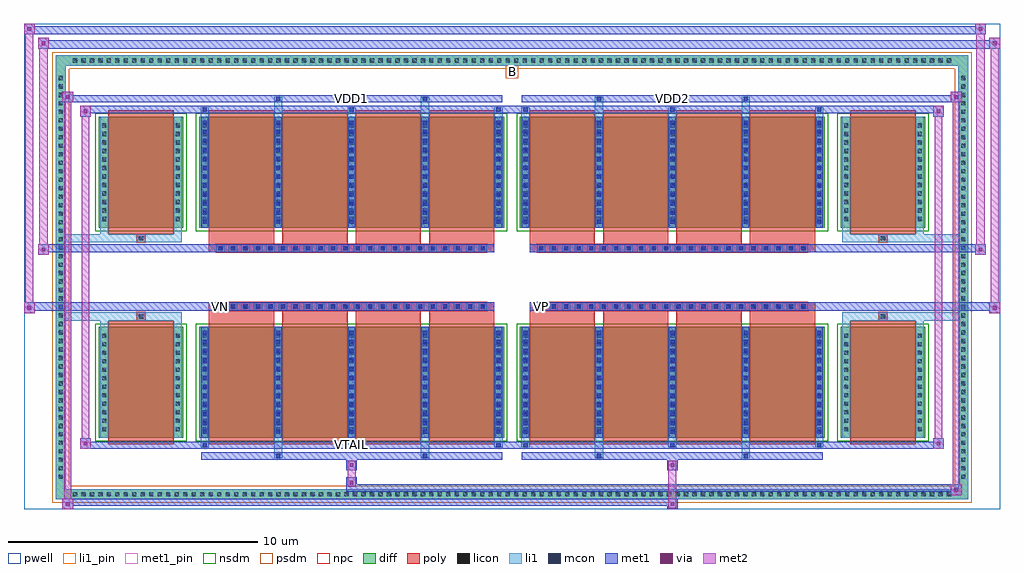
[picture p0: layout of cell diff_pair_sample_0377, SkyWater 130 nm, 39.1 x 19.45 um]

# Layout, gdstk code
import gdstk
lib = gdstk.Library(unit=1e-6, precision=5e-09)
def R(c, l, rs):  # rectangles x0, y0, x1, y1
    for r in rs: c.add(gdstk.rectangle(r[:2], r[2:], *l))
def A(c, l, x, y, w, h, nx, ny, dx, dy):  # array of equal rectangles
    R(c, l, [(x+i*dx, y+j*dy, x+i*dx+w, y+j*dy+h) for i in range(nx) for j in range(ny)])
def P(c, l, *ps):  # polygons
    for p in ps: c.add(gdstk.Polygon(p, *l))
pwell = (64, 44)
diff = (65, 20)
poly = (66, 20)
licon = (66, 44)
li1_pin = (67, 16)
li1 = (67, 20)
mcon = (67, 44)
met1_pin = (68, 16)
met1 = (68, 20)
via = (68, 44)
met2 = (69, 20)
nsdm = (93, 44)
psdm = (94, 20)
npc = (95, 20)

diff_pair_sample_0377 = lib.new_cell('diff_pair_sample_0377')
R(diff_pair_sample_0377, pwell, [(-19.55,-9.29,19.55,10.16), (-16.87,-7.48,-0.01,-0.8), (0.01,-7.48,16.87,-0.8), (-16.87,0.8,-0.01,7.48), (0.01,0.8,16.87,7.48)])
A(diff_pair_sample_0377, diff, -17.715, -8.89, 0.41, 0.41, 104, 2, 0.34, 17.37)
A(diff_pair_sample_0377, diff, -18.28, -8.195, 0.41, 0.41, 1, 48, 0, 0.34)
A(diff_pair_sample_0377, diff, 17.87, -8.195, 0.41, 0.41, 1, 48, 0, 0.34)
R(diff_pair_sample_0377, diff, [(-17.715,-8.89,17.715,-8.48), (-18.28,-8.195,-17.87,8.195), (17.87,-8.195,18.28,8.195), (-16.56,-6.435,-13.17,-1.985), (-12.53,-6.435,-0.32,-1.985), (0.32,-6.435,12.53,-1.985), (13.17,-6.435,16.56,-1.985), (-16.56,1.985,-13.17,6.435), (-12.53,1.985,-0.32,6.435), (0.32,1.985,12.53,6.435), (13.17,1.985,16.56,6.435), (-17.715,8.48,17.715,8.89)])
P(diff_pair_sample_0377, diff, [(18.28,8.89),(-18.28,8.89),(-18.28,-8.48),(-17.87,-8.48),(-17.87,8.48),(17.87,8.48),(17.87,-8.48),(-17.87,-8.48),(-18.28,-8.48),(-18.28,-8.89),(18.28,-8.89)])
A(diff_pair_sample_0377, poly, -12.14, -6.685, 2.61, 4.95, 4, 2, 2.94, 8.42)
A(diff_pair_sample_0377, poly, 0.71, -6.685, 2.61, 4.95, 4, 2, 2.94, 8.42)
A(diff_pair_sample_0377, poly, -12.14, -1.735, 2.61, 0.405, 4, 2, 2.94, 3.065)
A(diff_pair_sample_0377, poly, 0.71, -1.735, 2.61, 0.405, 4, 2, 2.94, 3.065)
A(diff_pair_sample_0377, poly, -11.84, -1.33, 0.33, 0.33, 22, 2, 0.5, 2.33)
A(diff_pair_sample_0377, poly, 1.01, -1.33, 0.33, 0.33, 22, 2, 0.5, 2.33)
R(diff_pair_sample_0377, poly, [(-16.17,-6.685,-13.56,-1.735), (13.56,-6.685,16.17,-1.735), (-15.03,-1.735,-14.7,-1.405), (-15.03,-1.735,-14.7,-1.405), (14.7,-1.735,15.03,-1.405), (14.7,-1.735,15.03,-1.405), (-12.14,-1.33,-0.71,-1), (0.71,-1.33,12.14,-1), (-12.14,1,-0.71,1.33), (0.71,1,12.14,1.33), (-15.03,1.405,-14.7,1.735), (-15.03,1.405,-14.7,1.735), (14.7,1.405,15.03,1.735), (14.7,1.405,15.03,1.735), (-16.17,1.735,-13.56,6.685), (13.56,1.735,16.17,6.685)])
A(diff_pair_sample_0377, licon, -17.595, -8.77, 0.17, 0.17, 104, 2, 0.34, 17.37)
A(diff_pair_sample_0377, licon, -18.16, -8.075, 0.17, 0.17, 1, 48, 0, 0.34)
A(diff_pair_sample_0377, licon, 17.99, -8.075, 0.17, 0.17, 1, 48, 0, 0.34)
A(diff_pair_sample_0377, licon, -16.42, -6.165, 0.17, 0.17, 1, 12, 0, 0.34)
A(diff_pair_sample_0377, licon, -13.48, -6.165, 0.17, 0.17, 1, 12, 0, 0.34)
A(diff_pair_sample_0377, licon, -12.39, -6.165, 0.17, 0.17, 5, 12, 2.94, 0.34)
A(diff_pair_sample_0377, licon, 0.46, -6.165, 0.17, 0.17, 5, 12, 2.94, 0.34)
A(diff_pair_sample_0377, licon, 13.31, -6.165, 0.17, 0.17, 1, 12, 0, 0.34)
A(diff_pair_sample_0377, licon, 16.25, -6.165, 0.17, 0.17, 1, 12, 0, 0.34)
A(diff_pair_sample_0377, licon, -11.76, -1.25, 0.17, 0.17, 22, 2, 0.5, 2.33)
A(diff_pair_sample_0377, licon, 1.09, -1.25, 0.17, 0.17, 22, 2, 0.5, 2.33)
A(diff_pair_sample_0377, licon, -16.42, 2.255, 0.17, 0.17, 1, 12, 0, 0.34)
A(diff_pair_sample_0377, licon, -13.48, 2.255, 0.17, 0.17, 1, 12, 0, 0.34)
A(diff_pair_sample_0377, licon, -12.39, 2.255, 0.17, 0.17, 5, 12, 2.94, 0.34)
A(diff_pair_sample_0377, licon, 0.46, 2.255, 0.17, 0.17, 5, 12, 2.94, 0.34)
A(diff_pair_sample_0377, licon, 13.31, 2.255, 0.17, 0.17, 1, 12, 0, 0.34)
A(diff_pair_sample_0377, licon, 16.25, 2.255, 0.17, 0.17, 1, 12, 0, 0.34)
R(diff_pair_sample_0377, licon, [(-14.95,-1.655,-14.78,-1.485), (14.78,-1.655,14.95,-1.485), (-14.95,1.485,-14.78,1.655), (14.78,1.485,14.95,1.655)])
R(diff_pair_sample_0377, li1_pin, [(-0.25,7.98,0.25,8.48)])
A(diff_pair_sample_0377, li1, -17.675, -8.85, 0.33, 0.33, 104, 2, 0.34, 17.37)
A(diff_pair_sample_0377, li1, -18.24, -8.155, 0.33, 0.33, 1, 48, 0, 0.34)
A(diff_pair_sample_0377, li1, 17.91, -8.155, 0.33, 0.33, 1, 48, 0, 0.34)
A(diff_pair_sample_0377, li1, -12.47, -6.81, 0.33, 0.375, 3, 2, 5.88, 13.245)
A(diff_pair_sample_0377, li1, -12.39, -6.81, 0.17, 0.17, 3, 2, 5.88, 13.45)
A(diff_pair_sample_0377, li1, 0.38, -6.81, 0.33, 0.375, 3, 2, 5.88, 13.245)
A(diff_pair_sample_0377, li1, 0.46, -6.81, 0.17, 0.17, 3, 2, 5.88, 13.45)
A(diff_pair_sample_0377, li1, -12.47, -6.435, 0.33, 4.45, 5, 2, 2.94, 8.42)
A(diff_pair_sample_0377, li1, 0.38, -6.435, 0.33, 4.45, 5, 2, 2.94, 8.42)
A(diff_pair_sample_0377, li1, -12.39, -6.275, 0.17, 0.17, 5, 12, 2.94, 0.36)
A(diff_pair_sample_0377, li1, -12.39, -6.275, 0.17, 4.13, 5, 2, 2.94, 8.42)
A(diff_pair_sample_0377, li1, 0.46, -6.275, 0.17, 0.17, 5, 12, 2.94, 0.36)
A(diff_pair_sample_0377, li1, 0.46, -6.275, 0.17, 4.13, 5, 2, 2.94, 8.42)
A(diff_pair_sample_0377, li1, -16.5, -6.245, 0.33, 0.33, 1, 12, 0, 0.34)
A(diff_pair_sample_0377, li1, -13.56, -6.245, 0.33, 0.33, 1, 12, 0, 0.34)
A(diff_pair_sample_0377, li1, -12.47, -6.245, 0.33, 0.33, 5, 12, 2.94, 0.34)
A(diff_pair_sample_0377, li1, 0.38, -6.245, 0.33, 0.33, 5, 12, 2.94, 0.34)
A(diff_pair_sample_0377, li1, 13.23, -6.245, 0.33, 0.33, 1, 12, 0, 0.34)
A(diff_pair_sample_0377, li1, 16.17, -6.245, 0.33, 0.33, 1, 12, 0, 0.34)
A(diff_pair_sample_0377, li1, -11.84, -1.33, 0.33, 0.33, 22, 2, 0.5, 2.33)
A(diff_pair_sample_0377, li1, 1.01, -1.33, 0.33, 0.33, 22, 2, 0.5, 2.33)
A(diff_pair_sample_0377, li1, -12.39, 2.145, 0.17, 0.17, 5, 12, 2.94, 0.36)
A(diff_pair_sample_0377, li1, 0.46, 2.145, 0.17, 0.17, 5, 12, 2.94, 0.36)
A(diff_pair_sample_0377, li1, -16.5, 2.175, 0.33, 0.33, 1, 12, 0, 0.34)
A(diff_pair_sample_0377, li1, -13.56, 2.175, 0.33, 0.33, 1, 12, 0, 0.34)
A(diff_pair_sample_0377, li1, -12.47, 2.175, 0.33, 0.33, 5, 12, 2.94, 0.34)
A(diff_pair_sample_0377, li1, 0.38, 2.175, 0.33, 0.33, 5, 12, 2.94, 0.34)
A(diff_pair_sample_0377, li1, 13.23, 2.175, 0.33, 0.33, 1, 12, 0, 0.34)
A(diff_pair_sample_0377, li1, 16.17, 2.175, 0.33, 0.33, 1, 12, 0, 0.34)
R(diff_pair_sample_0377, li1, [(-18.28,-8.89,-17.87,-8.48), (-18.28,-8.89,-17.87,-8.48), (-17.87,-8.89,17.87,-8.48), (17.87,-8.89,18.28,-8.48), (17.87,-8.89,18.28,-8.48), (-18.28,-8.48,-17.87,8.48), (17.87,-8.48,18.28,8.48), (-9.53,-7.24,-9.2,-6.435), (-9.45,-7.24,-9.28,-7.07), (-3.65,-7.24,-3.32,-6.435), (-3.57,-7.24,-3.4,-7.07), (3.32,-7.24,3.65,-6.435), (3.4,-7.24,3.57,-7.07), (9.2,-7.24,9.53,-6.435), (9.28,-7.24,9.45,-7.07), (-16.5,-6.435,-16.17,-1.985), (-13.56,-6.435,-13.23,-1.985), (13.23,-6.435,13.56,-1.985), (16.17,-6.435,16.5,-1.985), (-16.5,-1.985,-16.17,-1.405), (-13.56,-1.985,-13.23,-1.405), (13.23,-1.985,13.56,-1.405), (16.17,-1.985,16.5,-1.405), (-18.28,-1.735,-15.03,-1.405), (-16.5,-1.735,-15.03,-1.405), (-15.03,-1.735,-14.7,-1.405), (-14.7,-1.735,-13.23,-1.405), (13.23,-1.735,14.7,-1.405), (14.7,-1.735,15.03,-1.405), (14.7,-1.735,18.28,-1.405), (15.03,-1.735,16.5,-1.405), (-18.28,1.405,-15.03,1.735), (-16.5,1.405,-15.03,1.735), (-16.5,1.405,-16.17,1.985), (-15.03,1.405,-14.7,1.735), (-14.7,1.405,-13.23,1.735), (-13.56,1.405,-13.23,1.985), (13.23,1.405,14.7,1.735), (13.23,1.405,13.56,1.985), (14.7,1.405,15.03,1.735), (14.7,1.405,18.28,1.735), (15.03,1.405,16.5,1.735), (16.17,1.405,16.5,1.985), (-16.5,1.985,-16.17,6.435), (-13.56,1.985,-13.23,6.435), (13.23,1.985,13.56,6.435), (16.17,1.985,16.5,6.435), (-9.53,6.435,-9.2,7.24), (-3.65,6.435,-3.32,7.24), (3.32,6.435,3.65,7.24), (9.2,6.435,9.53,7.24), (-9.45,7.07,-9.28,7.24), (-3.57,7.07,-3.4,7.24), (3.4,7.07,3.57,7.24), (9.28,7.07,9.45,7.24), (-18.28,8.48,-17.87,8.89), (-18.28,8.48,-17.87,8.89), (-17.87,8.48,17.87,8.89), (17.87,8.48,18.28,8.89), (17.87,8.48,18.28,8.89)])
A(diff_pair_sample_0377, mcon, -12.39, -6.81, 0.17, 0.17, 3, 2, 5.88, 13.45)
A(diff_pair_sample_0377, mcon, 0.46, -6.81, 0.17, 0.17, 3, 2, 5.88, 13.45)
A(diff_pair_sample_0377, mcon, -12.39, -6.275, 0.17, 0.17, 5, 12, 2.94, 0.36)
A(diff_pair_sample_0377, mcon, 0.46, -6.275, 0.17, 0.17, 5, 12, 2.94, 0.36)
A(diff_pair_sample_0377, mcon, -11.76, -1.25, 0.17, 0.17, 22, 2, 0.5, 2.33)
A(diff_pair_sample_0377, mcon, 1.09, -1.25, 0.17, 0.17, 22, 2, 0.5, 2.33)
A(diff_pair_sample_0377, mcon, -12.39, 2.145, 0.17, 0.17, 5, 12, 2.94, 0.36)
A(diff_pair_sample_0377, mcon, 0.46, 2.145, 0.17, 0.17, 5, 12, 2.94, 0.36)
R(diff_pair_sample_0377, mcon, [(-9.45,-7.24,-9.28,-7.07), (-3.57,-7.24,-3.4,-7.07), (3.4,-7.24,3.57,-7.07), (9.28,-7.24,9.45,-7.07), (-9.45,7.07,-9.28,7.24), (-3.57,7.07,-3.4,7.24), (3.4,7.07,3.57,7.24), (9.28,7.07,9.45,7.24)])
R(diff_pair_sample_0377, met1_pin, [(-6.56,-6.85,-6.29,-6.58), (-11.81,-1.29,-11.54,-1.02), (1.04,-1.29,1.31,-1.02), (-6.56,7.03,-6.29,7.3), (6.29,7.03,6.56,7.3)])
A(diff_pair_sample_0377, met1, -12.45, -6.87, 0.29, 0.29, 3, 2, 5.88, 13.45)
A(diff_pair_sample_0377, met1, 0.4, -6.87, 0.29, 0.29, 3, 2, 5.88, 13.45)
A(diff_pair_sample_0377, met1, -12.45, -6.435, 0.29, 4.45, 5, 2, 2.94, 8.42)
A(diff_pair_sample_0377, met1, 0.4, -6.435, 0.29, 4.45, 5, 2, 2.94, 8.42)
A(diff_pair_sample_0377, met1, -12.45, -6.335, 0.29, 0.29, 5, 12, 2.94, 0.36)
A(diff_pair_sample_0377, met1, 0.4, -6.335, 0.29, 0.29, 5, 12, 2.94, 0.36)
A(diff_pair_sample_0377, met1, -11.82, -1.31, 0.29, 0.29, 22, 2, 0.5, 2.33)
A(diff_pair_sample_0377, met1, 1.03, -1.31, 0.29, 0.29, 22, 2, 0.5, 2.33)
A(diff_pair_sample_0377, met1, -12.45, 2.085, 0.29, 0.29, 5, 12, 2.94, 0.36)
A(diff_pair_sample_0377, met1, 0.4, 2.085, 0.29, 0.29, 5, 12, 2.94, 0.36)
R(diff_pair_sample_0377, met1, [(-18.01,-9.29,-17.58,-8.86), (6.21,-9.29,6.64,-8.86), (-18.01,-9.15,6.64,-8.86), (17.58,-8.72,18.01,-8.29), (-6.64,-8.58,18.01,-8.29), (-6.64,-8.44,-6.21,-8.01), (-6.64,-7.73,-6.21,-7.3), (6.21,-7.73,6.64,-7.3), (-12.45,-7.3,-0.4,-7.01), (-9.51,-7.3,-9.22,-7.01), (-3.63,-7.3,-3.34,-7.01), (0.4,-7.3,12.45,-7.01), (3.34,-7.3,3.63,-7.01), (9.22,-7.3,9.51,-7.01), (-17.3,-6.87,-16.87,-6.44), (-17.3,-6.87,-12.45,-6.58), (-12.45,-6.87,-0.4,-6.58), (-0.4,-6.87,0.4,-6.58), (0.4,-6.87,12.45,-6.58), (12.45,-6.87,17.3,-6.58), (16.87,-6.87,17.3,-6.44), (-19.55,-1.43,-19.12,-1), (19.12,-1.43,19.55,-1), (-19.55,-1.33,-0.71,-1), (-12.14,-1.33,-0.71,-1), (0.71,-1.33,12.14,-1), (0.71,-1.33,19.55,-1), (-18.98,0.9,-18.55,1.33), (18.55,0.9,18.98,1.33), (-18.98,1,-12.14,1.33), (-12.14,1,-0.71,1.33), (0.71,1,12.14,1.33), (12.14,1,18.98,1.33), (-17.3,6.44,-16.87,6.87), (16.87,6.44,17.3,6.87), (-17.3,6.58,-12.45,6.87), (-12.45,6.58,-0.4,6.87), (-0.4,6.58,0.4,6.87), (0.4,6.58,12.45,6.87), (12.45,6.58,17.3,6.87), (-18.01,7.01,-17.58,7.44), (-18.01,7.01,-12.45,7.3), (-12.45,7.01,-0.4,7.3), (-9.51,7.01,-9.22,7.3), (-3.63,7.01,-3.34,7.3), (0.4,7.01,12.45,7.3), (3.34,7.01,3.63,7.3), (9.22,7.01,9.51,7.3), (12.45,7.01,18.01,7.3), (17.58,7.01,18.01,7.44), (-18.98,9.16,-18.55,9.59), (-18.98,9.16,-16.87,9.49), (-16.87,9.16,16.87,9.49), (16.87,9.16,19.55,9.49), (19.12,9.16,19.55,9.59), (-19.55,9.73,-19.12,10.16), (-19.55,9.73,-16.87,10.06), (-16.87,9.73,16.87,10.06), (16.87,9.73,18.98,10.06), (18.55,9.73,18.98,10.16)])
R(diff_pair_sample_0377, via, [(-17.87,-9.15,-17.72,-9), (6.35,-9.15,6.5,-9), (17.72,-8.58,17.87,-8.43), (-6.5,-8.3,-6.35,-8.15), (-6.5,-7.59,-6.35,-7.44), (6.35,-7.59,6.5,-7.44), (-17.16,-6.73,-17.01,-6.58), (17.01,-6.73,17.16,-6.58), (-19.41,-1.29,-19.26,-1.14), (19.26,-1.29,19.41,-1.14), (-18.84,1.04,-18.69,1.19), (18.69,1.04,18.84,1.19), (-17.16,6.58,-17.01,6.73), (17.01,6.58,17.16,6.73), (-17.87,7.15,-17.72,7.3), (17.72,7.15,17.87,7.3), (-18.84,9.3,-18.69,9.45), (19.26,9.3,19.41,9.45), (-19.41,9.87,-19.26,10.02), (18.69,9.87,18.84,10.02)])
R(diff_pair_sample_0377, met2, [(-18.01,-9.29,-17.58,-8.86), (-17.94,-9.29,-17.65,7.44), (-17.65,-9.29,-17.58,-8.86), (-17.96,-9.24,-17.63,-8.91), (6.26,-9.24,6.59,-8.91), (6.26,-8.91,6.59,-7.68), (17.58,-8.72,18.01,-8.29), (17.65,-8.72,17.94,7.44), (17.94,-8.72,18.01,-8.29), (17.63,-8.67,17.96,-8.34), (-6.59,-8.39,-6.26,-8.06), (-6.59,-8.06,-6.26,-7.68), (-6.59,-7.68,-6.26,-7.35), (6.26,-7.68,6.59,-7.35), (-17.3,-6.87,-16.87,-6.44), (-17.23,-6.87,-16.94,6.87), (-16.94,-6.87,-16.87,-6.44), (16.87,-6.87,17.3,-6.44), (16.94,-6.87,17.23,6.87), (17.23,-6.87,17.3,-6.44), (-17.25,-6.82,-16.92,-6.49), (16.92,-6.82,17.25,-6.49), (-19.55,-1.43,-19.12,-1), (-19.5,-1.43,-19.17,10.16), (-19.17,-1.43,-19.12,-1), (19.12,-1.43,19.55,-1), (19.17,-1.43,19.5,9.59), (19.5,-1.43,19.55,-1), (-19.5,-1.38,-19.17,-1.05), (19.17,-1.38,19.5,-1.05), (-18.98,0.9,-18.55,1.33), (-18.93,0.9,-18.6,9.59), (-18.6,0.9,-18.55,1.33), (18.55,0.9,18.98,1.33), (18.6,0.9,18.93,10.16), (18.93,0.9,18.98,1.33), (-18.93,0.95,-18.6,1.28), (18.6,0.95,18.93,1.28), (-17.3,6.44,-16.87,6.87), (-16.94,6.44,-16.87,6.87), (16.87,6.44,17.3,6.87), (17.23,6.44,17.3,6.87), (-17.25,6.49,-16.92,6.82), (16.92,6.49,17.25,6.82), (-18.01,7.01,-17.58,7.44), (-17.65,7.01,-17.58,7.44), (17.58,7.01,18.01,7.44), (17.94,7.01,18.01,7.44), (-17.96,7.06,-17.63,7.39), (17.63,7.06,17.96,7.39), (-18.98,9.16,-18.55,9.59), (-18.6,9.16,-18.55,9.59), (19.12,9.16,19.55,9.59), (19.5,9.16,19.55,9.59), (-18.93,9.21,-18.6,9.54), (19.17,9.21,19.5,9.54), (-19.55,9.73,-19.12,10.16), (-19.17,9.73,-19.12,10.16), (18.55,9.73,18.98,10.16), (18.93,9.73,18.98,10.16), (-19.5,9.78,-19.17,10.11), (18.6,9.78,18.93,10.11)])
R(diff_pair_sample_0377, nsdm, [(-16.69,-6.565,-13.04,-1.855), (-12.66,-6.565,-0.19,-1.855), (0.19,-6.565,12.66,-1.855), (13.04,-6.565,16.69,-1.855), (-16.69,1.855,-13.04,6.565), (-12.66,1.855,-0.19,6.565), (0.19,1.855,12.66,6.565), (13.04,1.855,16.69,6.565)])
P(diff_pair_sample_0377, psdm, [(18.41,9.02),(-18.41,9.02),(-18.41,-8.35),(-17.74,-8.35),(-17.74,8.35),(17.74,8.35),(17.74,-8.35),(-17.74,-8.35),(-18.41,-8.35),(-18.41,-9.02),(18.41,-9.02)])
A(diff_pair_sample_0377, npc, -11.86, -1.35, 0.37, 0.37, 22, 2, 0.5, 2.33)
A(diff_pair_sample_0377, npc, 0.99, -1.35, 0.37, 0.37, 22, 2, 0.5, 2.33)
R(diff_pair_sample_0377, npc, [(-15.05,-1.755,-14.68,-1.385), (14.68,-1.755,15.05,-1.385), (-11.86,-1.35,-10.99,-0.98), (-11.86,-1.35,-10.99,-0.98), (-11.36,-1.35,-10.49,-0.98), (-11.36,-1.35,-10.49,-0.98), (-10.86,-1.35,-9.99,-0.98), (-10.86,-1.35,-9.99,-0.98), (-10.36,-1.35,-9.49,-0.98), (-10.36,-1.35,-9.49,-0.98), (-9.86,-1.35,-8.99,-0.98), (-9.86,-1.35,-8.99,-0.98), (-9.36,-1.35,-8.49,-0.98), (-9.36,-1.35,-8.49,-0.98), (-8.86,-1.35,-7.99,-0.98), (-8.86,-1.35,-7.99,-0.98), (-8.36,-1.35,-7.49,-0.98), (-8.36,-1.35,-7.49,-0.98), (-7.86,-1.35,-6.99,-0.98), (-7.86,-1.35,-6.99,-0.98), (-7.36,-1.35,-6.49,-0.98), (-7.36,-1.35,-6.49,-0.98), (-6.86,-1.35,-5.99,-0.98), (-6.86,-1.35,-5.99,-0.98), (-6.36,-1.35,-5.49,-0.98), (-6.36,-1.35,-5.49,-0.98), (-5.86,-1.35,-4.99,-0.98), (-5.86,-1.35,-4.99,-0.98), (-5.36,-1.35,-4.49,-0.98), (-5.36,-1.35,-4.49,-0.98), (-4.86,-1.35,-3.99,-0.98), (-4.86,-1.35,-3.99,-0.98), (-4.36,-1.35,-3.49,-0.98), (-4.36,-1.35,-3.49,-0.98), (-3.86,-1.35,-2.99,-0.98), (-3.86,-1.35,-2.99,-0.98), (-3.36,-1.35,-2.49,-0.98), (-3.36,-1.35,-2.49,-0.98), (-2.86,-1.35,-1.99,-0.98), (-2.86,-1.35,-1.99,-0.98), (-2.36,-1.35,-1.49,-0.98), (-2.36,-1.35,-1.49,-0.98), (-1.86,-1.35,-0.99,-0.98), (-1.86,-1.35,-0.99,-0.98), (0.99,-1.35,1.86,-0.98), (0.99,-1.35,1.86,-0.98), (1.49,-1.35,2.36,-0.98), (1.49,-1.35,2.36,-0.98), (1.99,-1.35,2.86,-0.98), (1.99,-1.35,2.86,-0.98), (2.49,-1.35,3.36,-0.98), (2.49,-1.35,3.36,-0.98), (2.99,-1.35,3.86,-0.98), (2.99,-1.35,3.86,-0.98), (3.49,-1.35,4.36,-0.98), (3.49,-1.35,4.36,-0.98), (3.99,-1.35,4.86,-0.98), (3.99,-1.35,4.86,-0.98), (4.49,-1.35,5.36,-0.98), (4.49,-1.35,5.36,-0.98), (4.99,-1.35,5.86,-0.98), (4.99,-1.35,5.86,-0.98), (5.49,-1.35,6.36,-0.98), (5.49,-1.35,6.36,-0.98), (5.99,-1.35,6.86,-0.98), (5.99,-1.35,6.86,-0.98), (6.49,-1.35,7.36,-0.98), (6.49,-1.35,7.36,-0.98), (6.99,-1.35,7.86,-0.98), (6.99,-1.35,7.86,-0.98), (7.49,-1.35,8.36,-0.98), (7.49,-1.35,8.36,-0.98), (7.99,-1.35,8.86,-0.98), (7.99,-1.35,8.86,-0.98), (8.49,-1.35,9.36,-0.98), (8.49,-1.35,9.36,-0.98), (8.99,-1.35,9.86,-0.98), (8.99,-1.35,9.86,-0.98), (9.49,-1.35,10.36,-0.98), (9.49,-1.35,10.36,-0.98), (9.99,-1.35,10.86,-0.98), (9.99,-1.35,10.86,-0.98), (10.49,-1.35,11.36,-0.98), (10.49,-1.35,11.36,-0.98), (10.99,-1.35,11.86,-0.98), (10.99,-1.35,11.86,-0.98), (-11.86,0.98,-10.99,1.35), (-11.86,0.98,-10.99,1.35), (-11.36,0.98,-10.49,1.35), (-11.36,0.98,-10.49,1.35), (-10.86,0.98,-9.99,1.35), (-10.86,0.98,-9.99,1.35), (-10.36,0.98,-9.49,1.35), (-10.36,0.98,-9.49,1.35), (-9.86,0.98,-8.99,1.35), (-9.86,0.98,-8.99,1.35), (-9.36,0.98,-8.49,1.35), (-9.36,0.98,-8.49,1.35), (-8.86,0.98,-7.99,1.35), (-8.86,0.98,-7.99,1.35), (-8.36,0.98,-7.49,1.35), (-8.36,0.98,-7.49,1.35), (-7.86,0.98,-6.99,1.35), (-7.86,0.98,-6.99,1.35), (-7.36,0.98,-6.49,1.35), (-7.36,0.98,-6.49,1.35), (-6.86,0.98,-5.99,1.35), (-6.86,0.98,-5.99,1.35), (-6.36,0.98,-5.49,1.35), (-6.36,0.98,-5.49,1.35), (-5.86,0.98,-4.99,1.35), (-5.86,0.98,-4.99,1.35), (-5.36,0.98,-4.49,1.35), (-5.36,0.98,-4.49,1.35), (-4.86,0.98,-3.99,1.35), (-4.86,0.98,-3.99,1.35), (-4.36,0.98,-3.49,1.35), (-4.36,0.98,-3.49,1.35), (-3.86,0.98,-2.99,1.35), (-3.86,0.98,-2.99,1.35), (-3.36,0.98,-2.49,1.35), (-3.36,0.98,-2.49,1.35), (-2.86,0.98,-1.99,1.35), (-2.86,0.98,-1.99,1.35), (-2.36,0.98,-1.49,1.35), (-2.36,0.98,-1.49,1.35), (-1.86,0.98,-0.99,1.35), (-1.86,0.98,-0.99,1.35), (0.99,0.98,1.86,1.35), (0.99,0.98,1.86,1.35), (1.49,0.98,2.36,1.35), (1.49,0.98,2.36,1.35), (1.99,0.98,2.86,1.35), (1.99,0.98,2.86,1.35), (2.49,0.98,3.36,1.35), (2.49,0.98,3.36,1.35), (2.99,0.98,3.86,1.35), (2.99,0.98,3.86,1.35), (3.49,0.98,4.36,1.35), (3.49,0.98,4.36,1.35), (3.99,0.98,4.86,1.35), (3.99,0.98,4.86,1.35), (4.49,0.98,5.36,1.35), (4.49,0.98,5.36,1.35), (4.99,0.98,5.86,1.35), (4.99,0.98,5.86,1.35), (5.49,0.98,6.36,1.35), (5.49,0.98,6.36,1.35), (5.99,0.98,6.86,1.35), (5.99,0.98,6.86,1.35), (6.49,0.98,7.36,1.35), (6.49,0.98,7.36,1.35), (6.99,0.98,7.86,1.35), (6.99,0.98,7.86,1.35), (7.49,0.98,8.36,1.35), (7.49,0.98,8.36,1.35), (7.99,0.98,8.86,1.35), (7.99,0.98,8.86,1.35), (8.49,0.98,9.36,1.35), (8.49,0.98,9.36,1.35), (8.99,0.98,9.86,1.35), (8.99,0.98,9.86,1.35), (9.49,0.98,10.36,1.35), (9.49,0.98,10.36,1.35), (9.99,0.98,10.86,1.35), (9.99,0.98,10.86,1.35), (10.49,0.98,11.36,1.35), (10.49,0.98,11.36,1.35), (10.99,0.98,11.86,1.35), (10.99,0.98,11.86,1.35), (-15.05,1.385,-14.68,1.755), (14.68,1.385,15.05,1.755)])
diff_pair_sample_0377.add(gdstk.Label('VTAIL', (-6.425,-6.715), layer=68, texttype=5))
diff_pair_sample_0377.add(gdstk.Label('VN', (-11.675,-1.155), layer=68, texttype=5))
diff_pair_sample_0377.add(gdstk.Label('VP', (1.175,-1.155), layer=68, texttype=5))
diff_pair_sample_0377.add(gdstk.Label('B', (0,8.23), layer=67, texttype=5))
diff_pair_sample_0377.add(gdstk.Label('VDD2', (6.425,7.165), layer=68, texttype=5))
diff_pair_sample_0377.add(gdstk.Label('VDD1', (-6.425,7.165), layer=68, texttype=5))

lib.write_gds('diff_pair_sample_0377.gds')
